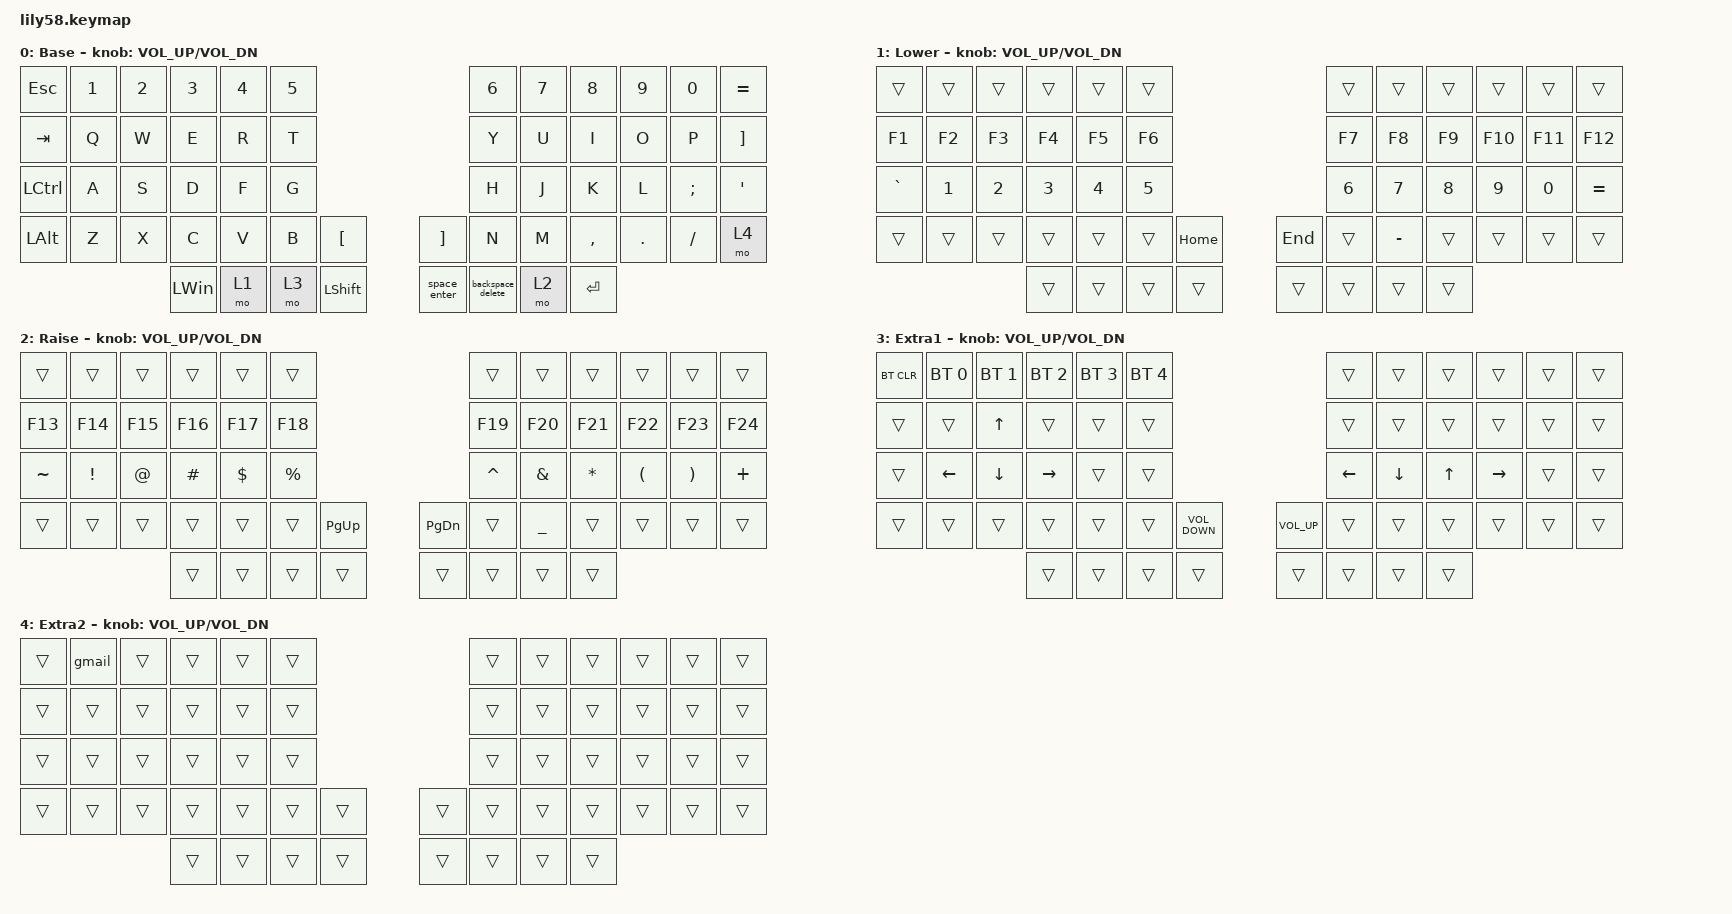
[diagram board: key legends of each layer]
/*
 * Copyright (c) 2020 The ZMK Contributors
 *
 * SPDX-License-Identifier: MIT
 */

#include <behaviors.dtsi>
#include <dt-bindings/zmk/bt.h>
#include <dt-bindings/zmk/keys.h>

/ {
    combos {
        compatible = "zmk,combos";

        Home {
            bindings = <&kp HOME>;
            key-positions = <54 42>;
        };

        End {
            bindings = <&kp END>;
            key-positions = <54 43>;
        };
    };

    behaviors {
        space_enter: space_enter {
            compatible = "zmk,behavior-mod-morph";
            label = "SPACE_ENTER";
            bindings = <&kp SPACE>, <&kp KP_ENTER>;

            #binding-cells = <0>;
            mods = <(MOD_LSFT|MOD_RSFT)>;
        };

        backspace_delete: backspace_delete {
            compatible = "zmk,behavior-mod-morph";
            label = "BACKSPACE_DELETE";
            bindings = <&kp BACKSPACE>, <&kp DELETE>;

            #binding-cells = <0>;
            mods = <(MOD_LSFT)>;
        };
    };

    macros {
        gmail: new_macro {
            compatible = "zmk,behavior-macro";
            #binding-cells = <0>;
            bindings = <&none &kp S &kp T &kp C &kp A &kp N &kp D &kp R &kp E &kp W &kp AT &kp G &kp M &kp A &kp I &kp L &kp DOT &kp C &kp O &kp M>;
            label = "NEW_MACRO";
        };
    };

    keymap {
        compatible = "zmk,keymap";

        default_layer {
            // ------------------------------------------------------------------------------------------------------------
            // |  ESC  |  1  |  2  |  3   |  4   |  5   |                   |  6   |  7    |  8    |  9   |   0   |   `   |
            // |  TAB  |  Q  |  W  |  E   |  R   |  T   |                   |  Y   |  U    |  I    |  O   |   P   |   -   |
            // |  CTRL |  A  |  S  |  D   |  F   |  G   |                   |  H   |  J    |  K    |  L   |   ;   |   '   |
            // | SHIFT |  Z  |  X  |  C   |  V   |  B   |   "["  |  |  "]"  |  N   |  M    |  ,    |  .   |   /   | SHIFT |
            //                     | ALT  | GUI  | LOWER|  SPACE |  | ENTER | RAISE| BSPC  | GUI   |

            display-name = "Base";
            bindings = <
&kp ESC       &kp N1  &kp N2  &kp N3        &kp N4  &kp N5                                         &kp N6             &kp N7  &kp N8     &kp N9   &kp N0    &kp EQUAL
&kp TAB       &kp Q   &kp W   &kp E         &kp R   &kp T                                          &kp Y              &kp U   &kp I      &kp O    &kp P     &kp RIGHT_BRACKET
&kp LCTRL     &kp A   &kp S   &kp D         &kp F   &kp G                                          &kp H              &kp J   &kp K      &kp L    &kp SEMI  &kp SQT
&kp LEFT_ALT  &kp Z   &kp X   &kp C         &kp V   &kp B   &kp LEFT_BRACKET    &kp RIGHT_BRACKET  &kp N              &kp M   &kp COMMA  &kp DOT  &kp FSLH  &mo 4
                              &kp LEFT_WIN  &mo 1   &mo 3   &kp LEFT_SHIFT      &space_enter       &backspace_delete  &mo 2   &kp ENTER
            >;

            sensor-bindings = <&inc_dec_kp C_VOL_UP C_VOL_DN>;
        };

        lower_layer {
            // ------------------------------------------------------------------------------------------------------------
            // | BTCLR | BT1 | BT2 |  BT3 |  BT4 |  BT5 |                   |      |       |       |      |       |       |
            // |  F1   |  F2 |  F3 |  F4  |  F5  |  F6  |                   |  F7  |  F8   |  F9   |  F10 |  F11  |  F12  |
            // |   `   |  !  |  @  |  #   |  $   |  %   |                   |  ^   |  &    |  *    |  (   |   )   |   ~   |
            // |       |     |     |      |      |      |        |  |       |      |  _    |  +    |  {   |   }   |  "|"  |
            //                     |      |      |      |        |  |       |      |       |       |

            display-name = "Lower";
            bindings = <
&trans     &trans        &trans        &trans        &trans        &trans                             &trans        &trans        &trans        &trans        &trans        &trans
&kp F1     &kp F2        &kp F3        &kp F4        &kp F5        &kp F6                             &kp F7        &kp F8        &kp F9        &kp F10       &kp F11       &kp F12
&kp GRAVE  &kp NUMBER_1  &kp NUMBER_2  &kp NUMBER_3  &kp NUMBER_4  &kp NUMBER_5                       &kp NUMBER_6  &kp NUMBER_7  &kp NUMBER_8  &kp NUMBER_9  &kp NUMBER_0  &kp EQUAL
&trans     &trans        &trans        &trans        &trans        &trans        &kp HOME    &kp END  &trans        &kp MINUS     &trans        &trans        &trans        &trans
                                       &trans        &trans        &trans        &trans      &trans   &trans        &trans        &trans
            >;

            sensor-bindings = <&inc_dec_kp C_VOL_UP C_VOL_DN>;
        };

        raise_layer {
            // ------------------------------------------------------------------------------------------------------------
            // |       |     |     |      |      |      |                   |      |       |       |      |       |       |
            // |   `   |  1  |  2  |  3   |  4   |  5   |                   |  6   |   7   |   8   |  9   |   0   |       |
            // |   F1  |  F2 |  F3 |  F4  |  F5  |  F6  |                   |      |   <-  |   v   |  ^   |  ->   |       |
            // |   F7  |  F8 |  F9 |  F10 |  F11 |  F12 |        |  |       |  +   |   -   |   =   |  [   |   ]   |   \   |
            //                     |      |      |      |        |  |       |      |       |       |

            display-name = "Raise";
            bindings = <
&trans     &trans           &trans       &trans    &trans      &trans                                     &trans     &trans          &trans        &trans                &trans                 &trans
&kp F13    &kp F14          &kp F15      &kp F16   &kp F17     &kp F18                                    &kp F19    &kp F20         &kp F21       &kp F22               &kp F23                &kp F24
&kp TILDE  &kp EXCLAMATION  &kp AT_SIGN  &kp HASH  &kp DOLLAR  &kp PERCENT                                &kp CARET  &kp AMPERSAND   &kp ASTERISK  &kp LEFT_PARENTHESIS  &kp RIGHT_PARENTHESIS  &kp PLUS
&trans     &trans           &trans       &trans    &trans      &trans       &kp PAGE_UP    &kp PAGE_DOWN  &trans     &kp UNDERSCORE  &trans        &trans                &trans                 &trans
                                         &trans    &trans      &trans       &trans         &trans         &trans     &trans          &trans
            >;

            sensor-bindings = <&inc_dec_kp C_VOL_UP C_VOL_DN>;
        };

        extra_1 {
            // ------------------------------------------------------------------------------------------------------------
            // |       |     |     |      |      |      |                   |      |       |       |      |       |       |
            // |   `   |  1  |  2  |  3   |  4   |  5   |                   |  6   |   7   |   8   |  9   |   0   |       |
            // |   F1  |  F2 |  F3 |  F4  |  F5  |  F6  |                   |      |   <-  |   v   |  ^   |  ->   |       |
            // |   F7  |  F8 |  F9 |  F10 |  F11 |  F12 |        |  |       |  +   |   -   |   =   |  [   |   ]   |   \   |
            //                     |      |      |      |        |  |       |      |       |       |

            display-name = "Extra1";
            bindings = <
&bt BT_CLR  &bt BT_SEL 0    &bt BT_SEL 1    &bt BT_SEL 2     &bt BT_SEL 3  &bt BT_SEL 4                                        &trans    &trans    &trans  &trans     &trans  &trans
&trans      &trans          &kp UP_ARROW    &trans           &trans        &trans                                              &trans    &trans    &trans  &trans     &trans  &trans
&trans      &kp LEFT_ARROW  &kp DOWN_ARROW  &kp RIGHT_ARROW  &trans        &trans                                              &kp LEFT  &kp DOWN  &kp UP  &kp RIGHT  &trans  &trans
&trans      &trans          &trans          &trans           &trans        &trans        &kp C_VOLUME_DOWN    &kp C_VOLUME_UP  &trans    &trans    &trans  &trans     &trans  &trans
                                            &trans           &trans        &trans        &trans               &trans           &trans    &trans    &trans
            >;

            sensor-bindings = <&inc_dec_kp C_VOL_UP C_VOL_DN>;
        };

        extra_2 {
            // ------------------------------------------------------------------------------------------------------------
            // |       |     |     |      |      |      |                   |      |       |       |      |       |       |
            // |   `   |  1  |  2  |  3   |  4   |  5   |                   |  6   |   7   |   8   |  9   |   0   |       |
            // |   F1  |  F2 |  F3 |  F4  |  F5  |  F6  |                   |      |   <-  |   v   |  ^   |  ->   |       |
            // |   F7  |  F8 |  F9 |  F10 |  F11 |  F12 |        |  |       |  +   |   -   |   =   |  [   |   ]   |   \   |
            //                     |      |      |      |        |  |       |      |       |       |

            display-name = "Extra2";
            bindings = <
&trans  &gmail  &trans  &trans  &trans  &trans                    &trans  &trans  &trans  &trans  &trans  &trans
&trans  &trans  &trans  &trans  &trans  &trans                    &trans  &trans  &trans  &trans  &trans  &trans
&trans  &trans  &trans  &trans  &trans  &trans                    &trans  &trans  &trans  &trans  &trans  &trans
&trans  &trans  &trans  &trans  &trans  &trans  &trans    &trans  &trans  &trans  &trans  &trans  &trans  &trans
                        &trans  &trans  &trans  &trans    &trans  &trans  &trans  &trans
            >;

            sensor-bindings = <&inc_dec_kp C_VOL_UP C_VOL_DN>;
        };

        extra_3 { status = "reserved"; };
    };
};
